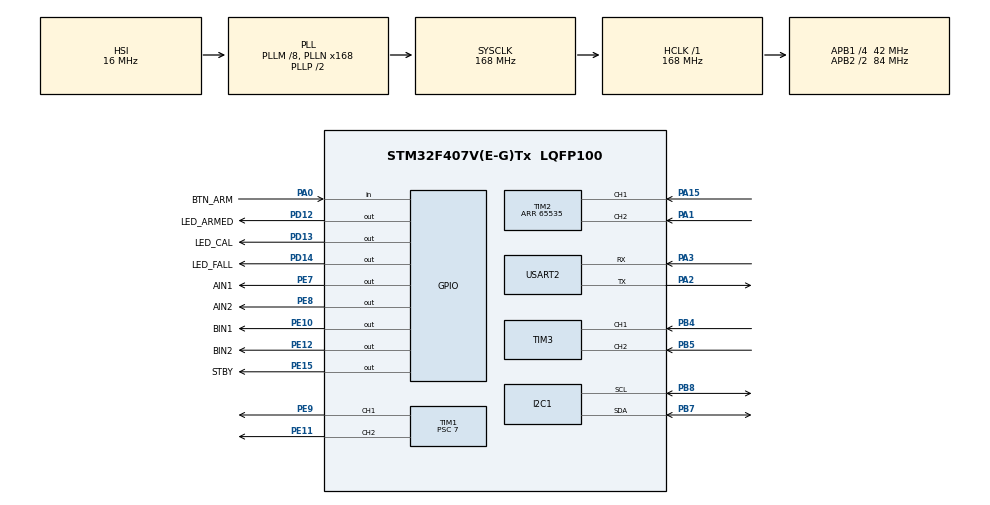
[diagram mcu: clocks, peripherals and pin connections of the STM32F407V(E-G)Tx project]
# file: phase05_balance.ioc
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I2C1.I2C_Mode=I2C_Fast
Mcu.Family=STM32F4
Mcu.Name=STM32F407V(E-G)Tx
Mcu.Package=LQFP100
NVIC.PriorityGroup=NVIC_PRIORITYGROUP_4
NVIC.TIM6_DAC_IRQn=true\:0\:0\:false\:false\:true\:true\:true\:true
PA0-WKUP.GPIO_Label=BTN_ARM
PA0-WKUP.Signal=GPIO_Input
PA1.Signal=S_TIM2_CH2
PA13.Mode=Serial_Wire
PA13.Signal=SYS_JTMS-SWDIO
PA14.Mode=Serial_Wire
PA14.Signal=SYS_JTCK-SWCLK
PA15.Signal=S_TIM2_CH1_ETR
PA2.Mode=Asynchronous
PA2.Signal=USART2_TX
PA3.Mode=Asynchronous
PA3.Signal=USART2_RX
PB4.Signal=S_TIM3_CH1
PB5.Signal=S_TIM3_CH2
PB7.Mode=I2C
PB7.Signal=I2C1_SDA
PB8.Mode=I2C
PB8.Signal=I2C1_SCL
PD12.GPIO_Label=LED_ARMED
PD12.Signal=GPIO_Output
PD13.GPIO_Label=LED_CAL
PD13.Signal=GPIO_Output
PD14.GPIO_Label=LED_FALL
PD14.Signal=GPIO_Output
PE10.GPIO_Label=BIN1
PE10.Signal=GPIO_Output
PE11.Signal=S_TIM1_CH2
PE12.GPIO_Label=BIN2
PE12.Signal=GPIO_Output
PE15.GPIO_Label=STBY
PE15.Signal=GPIO_Output
PE7.GPIO_Label=AIN1
PE7.Signal=GPIO_Output
PE8.GPIO_Label=AIN2
PE8.Signal=GPIO_Output
PE9.Signal=S_TIM1_CH1
ProjectManager.HeapSize=0x200
ProjectManager.StackSize=0x400
ProjectManager.TargetToolchain=STM32CubeIDE
RCC.48MHZClocksFreq_Value=84000000
RCC.AHBFreq_Value=168000000
RCC.APB1CLKDivider=RCC_HCLK_DIV4
RCC.APB1Freq_Value=42000000
RCC.APB1TimFreq_Value=84000000
RCC.APB2CLKDivider=RCC_HCLK_DIV2
RCC.APB2Freq_Value=84000000
RCC.APB2TimFreq_Value=168000000
RCC.CortexFreq_Value=168000000
RCC.HCLKFreq_Value=168000000
RCC.HSE_VALUE=25000000
RCC.HSI_VALUE=16000000
RCC.LSE_VALUE=32768
RCC.PLLM=8
RCC.PLLN=168
RCC.SYSCLKFreq_VALUE=168000000
RCC.SYSCLKSource=RCC_SYSCLKSOURCE_PLLCLK
RCC.VCOOutputFreq_Value=336000000
SH.S_TIM1_CH1.0=TIM1_CH1,PWM Generation1 CH1
SH.S_TIM1_CH2.0=TIM1_CH2,PWM Generation2 CH2
SH.S_TIM2_CH1_ETR.0=TIM2_CH1,Encoder_Interface
SH.S_TIM2_CH2.0=TIM2_CH2,Encoder_Interface
SH.S_TIM3_CH1.0=TIM3_CH1,Encoder_Interface
SH.S_TIM3_CH2.0=TIM3_CH2,Encoder_Interface
TIM1.AutoReloadPreload=TIM_AUTORELOAD_PRELOAD_ENABLE
TIM1.Channel-PWM\ Generation1\ CH1=TIM_CHANNEL_1
TIM1.Channel-PWM\ Generation2\ CH2=TIM_CHANNEL_2
TIM1.Period=999
TIM1.Prescaler=7
TIM2.EncoderMode=TIM_ENCODERMODE_TI12
TIM2.IC1Filter=10
TIM2.IC2Filter=10
TIM2.Period=65535
TIM3.EncoderMode=TIM_ENCODERMODE_TI12
TIM3.IC1Filter=10
TIM3.IC2Filter=10
TIM6.AutoReloadPreload=TIM_AUTORELOAD_PRELOAD_ENABLE
TIM6.Period=49
TIM6.Prescaler=8399
USART2.VirtualMode=VM_ASYNC
VP_TIM6_VS_ClockSourceINT.Mode=Enable_Timer
board=custom

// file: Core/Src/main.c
/* USER CODE BEGIN Header */
/**
  ******************************************************************************
  * @file           : main.c
  * @brief          : Main program body
  ******************************************************************************
  * @attention
  *
  * Copyright (c) 2026 STMicroelectronics.
  * All rights reserved.
  *
  * This software is licensed under terms that can be found in the LICENSE file
  * in the root directory of this software component.
  * If no LICENSE file comes with this software, it is provided AS-IS.
  *
  ******************************************************************************
  */
/* USER CODE END Header */
#include "main.h"
#include "i2c.h"
#include "tim.h"
#include "usart.h"
#include "gpio.h"

/* USER CODE BEGIN Includes */
#include "motors.h"
#include <stdio.h>
#include <string.h>
/* USER CODE END Includes */

/* USER CODE BEGIN PV */
char g_msg[96];
/* USER CODE END PV */

void SystemClock_Config(void);

int main(void)
{

  /* MCU Configuration--------------------------------------------------------*/

  /* Reset of all peripherals, Initializes the Flash interface and the Systick. */
  HAL_Init();

  /* Configure the system clock */
  SystemClock_Config();

  /* Initialize all configured peripherals */
  MX_GPIO_Init();
  MX_I2C1_Init();
  MX_TIM1_Init();
  MX_TIM2_Init();
  MX_TIM3_Init();
  MX_TIM6_Init();
  MX_USART2_UART_Init();
  /* USER CODE BEGIN 2 */
  HAL_TIM_Encoder_Start(&htim3, TIM_CHANNEL_ALL);   /* encoder A */
  HAL_TIM_Encoder_Start(&htim2, TIM_CHANNEL_ALL);   /* encoder B */
  Motors_Init();
  /* USER CODE END 2 */

  /* Infinite loop */
  while (1)
  {

    /* USER CODE BEGIN 3 */
	  int16_t prevA, nowA, deltaA;
	  int16_t prevB, nowB, deltaB;

	  Motor_A_Set(300);
	  Motor_B_Set(300);
	  prevA = (int16_t)__HAL_TIM_GET_COUNTER(&htim3);
	  prevB = (int16_t)__HAL_TIM_GET_COUNTER(&htim2);
	  for (int i = 0; i < 10; i++) {
	      HAL_Delay(200);
	      nowA   = (int16_t)__HAL_TIM_GET_COUNTER(&htim3);
	      nowB   = (int16_t)__HAL_TIM_GET_COUNTER(&htim2);
	      deltaA = (int16_t)(nowA - prevA);
	      deltaB = (int16_t)(nowB - prevB);
	      prevA  = nowA;
	      prevB  = nowB;
	      sprintf(g_msg, "A=%d  B=%d\r\n", deltaA, deltaB);
	      HAL_UART_Transmit(&huart2, (uint8_t *)g_msg, strlen(g_msg), 100);
	  }

	  Motors_Stop();
	  HAL_Delay(1000);
  }
  /* USER CODE END 3 */
}

void SystemClock_Config(void)
{
  RCC_OscInitTypeDef RCC_OscInitStruct = {0};
  RCC_ClkInitTypeDef RCC_ClkInitStruct = {0};

  /** Configure the main internal regulator output voltage
  */
  __HAL_RCC_PWR_CLK_ENABLE();
  __HAL_PWR_VOLTAGESCALING_CONFIG(PWR_REGULATOR_VOLTAGE_SCALE1);

  /** Initializes the RCC Oscillators according to the specified parameters
  * in the RCC_OscInitTypeDef structure.
  */
  RCC_OscInitStruct.OscillatorType = RCC_OSCILLATORTYPE_HSI;
  RCC_OscInitStruct.HSIState = RCC_HSI_ON;
  RCC_OscInitStruct.HSICalibrationValue = RCC_HSICALIBRATION_DEFAULT;
  RCC_OscInitStruct.PLL.PLLState = RCC_PLL_ON;
  RCC_OscInitStruct.PLL.PLLSource = RCC_PLLSOURCE_HSI;
  RCC_OscInitStruct.PLL.PLLM = 8;
  RCC_OscInitStruct.PLL.PLLN = 168;
  RCC_OscInitStruct.PLL.PLLP = RCC_PLLP_DIV2;
  RCC_OscInitStruct.PLL.PLLQ = 4;
  if (HAL_RCC_OscConfig(&RCC_OscInitStruct) != HAL_OK)
  {
    Error_Handler();
  }

  /** Initializes the CPU, AHB and APB buses clocks
  */
  RCC_ClkInitStruct.ClockType = RCC_CLOCKTYPE_HCLK|RCC_CLOCKTYPE_SYSCLK
                              |RCC_CLOCKTYPE_PCLK1|RCC_CLOCKTYPE_PCLK2;
  RCC_ClkInitStruct.SYSCLKSource = RCC_SYSCLKSOURCE_PLLCLK;
  RCC_ClkInitStruct.AHBCLKDivider = RCC_SYSCLK_DIV1;
  RCC_ClkInitStruct.APB1CLKDivider = RCC_HCLK_DIV4;
  RCC_ClkInitStruct.APB2CLKDivider = RCC_HCLK_DIV2;

  if (HAL_RCC_ClockConfig(&RCC_ClkInitStruct, FLASH_LATENCY_5) != HAL_OK)
  {
    Error_Handler();
  }
}

void Error_Handler(void)
{
  __disable_irq();
  while (1)
  {
  }
}
